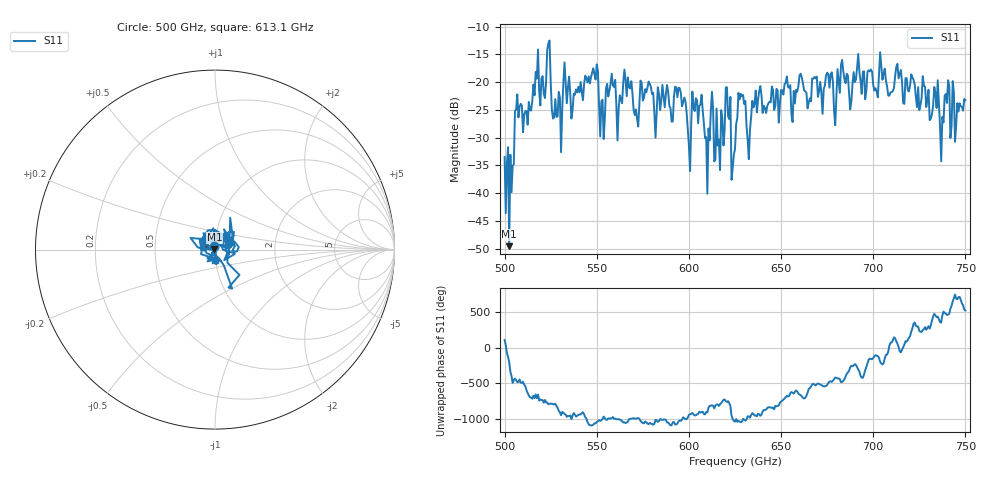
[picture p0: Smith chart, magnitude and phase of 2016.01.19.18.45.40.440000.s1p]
!Created with skrf (http://scikit-rf.org).
# GHz S RI R 50.0
!freq ReS11 ImS11
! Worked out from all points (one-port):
!   401 points, 500 GHz to 750 GHz, reference 50 ohm
!   lowest |S11| = -49.5 dB at 502.5 GHz (marker M1), VSWR 1.01, Z = 49.7 + j0.14 ohm
!   |S11| at or under -10 dB: start of sweep to end of sweep
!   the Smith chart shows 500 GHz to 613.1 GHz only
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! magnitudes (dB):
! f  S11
! 500 GHz  -33.5
! 502.5 GHz  -49.5
! 506.9 GHz  -22.2
! 516.9 GHz  -18.2
! 523.8 GHz  -13.0
! 526.9 GHz  -26.3
! 531.2 GHz  -25.0
! 549.4 GHz  -19.5
! 553.1 GHz  -23.2
! 558.8 GHz  -20.6
! 562.5 GHz  -22.4
! 565.6 GHz  -19.6
! 571.2 GHz  -24.9
! 593.8 GHz  -22.7
! 600 GHz  -31.4
! 603.1 GHz  -25.2
! 615.6 GHz  -31.4
! 621.2 GHz  -26.2
! 625 GHz  -32.1
! 628.1 GHz  -22.1
! 632.5 GHz  -33.9
! 637.5 GHz  -23.2
! 656.2 GHz  -27.2
! 687.5 GHz  -24.9
! 718.8 GHz  -21.4
! 736.9 GHz  -34.2
! 740 GHz  -23.7
! 750 GHz  -23.2
